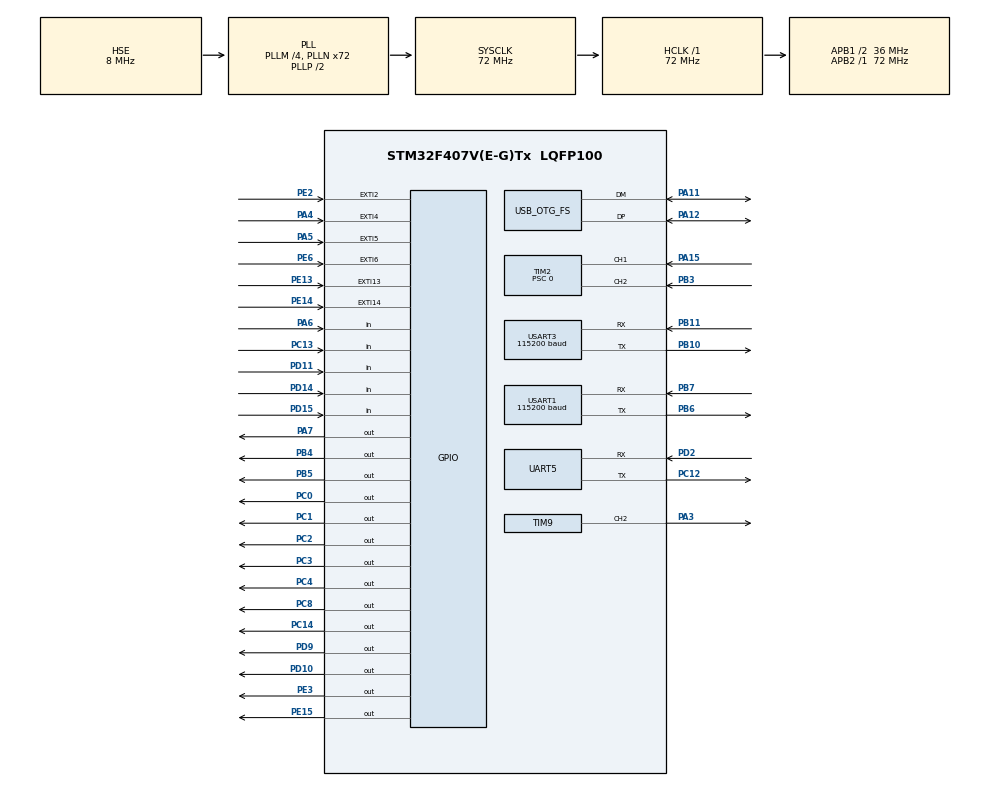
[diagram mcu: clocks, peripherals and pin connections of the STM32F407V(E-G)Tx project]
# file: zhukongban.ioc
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Dma.Request0=USART3_RX
Dma.Request1=USART3_TX
Dma.Request2=USART1_RX
Dma.Request3=USART1_TX
Dma.Request4=UART5_RX
Dma.Request5=UART5_TX
Dma.UART5_RX.4.Direction=DMA_PERIPH_TO_MEMORY
Dma.UART5_RX.4.FIFOMode=DMA_FIFOMODE_DISABLE
Dma.UART5_RX.4.Instance=DMA1_Stream0
Dma.UART5_RX.4.MemDataAlignment=DMA_MDATAALIGN_BYTE
Dma.UART5_RX.4.MemInc=DMA_MINC_ENABLE
Dma.UART5_RX.4.Mode=DMA_NORMAL
Dma.UART5_RX.4.PeriphDataAlignment=DMA_PDATAALIGN_BYTE
Dma.UART5_RX.4.PeriphInc=DMA_PINC_DISABLE
Dma.UART5_RX.4.Priority=DMA_PRIORITY_LOW
Dma.UART5_TX.5.Direction=DMA_MEMORY_TO_PERIPH
Dma.UART5_TX.5.FIFOMode=DMA_FIFOMODE_DISABLE
Dma.UART5_TX.5.Instance=DMA1_Stream7
Dma.UART5_TX.5.MemDataAlignment=DMA_MDATAALIGN_BYTE
Dma.UART5_TX.5.MemInc=DMA_MINC_ENABLE
Dma.UART5_TX.5.Mode=DMA_NORMAL
Dma.UART5_TX.5.PeriphDataAlignment=DMA_PDATAALIGN_BYTE
Dma.UART5_TX.5.PeriphInc=DMA_PINC_DISABLE
Dma.UART5_TX.5.Priority=DMA_PRIORITY_LOW
Dma.USART1_RX.2.Direction=DMA_PERIPH_TO_MEMORY
Dma.USART1_RX.2.FIFOMode=DMA_FIFOMODE_DISABLE
Dma.USART1_RX.2.Instance=DMA2_Stream2
Dma.USART1_RX.2.MemDataAlignment=DMA_MDATAALIGN_BYTE
Dma.USART1_RX.2.MemInc=DMA_MINC_ENABLE
Dma.USART1_RX.2.Mode=DMA_NORMAL
Dma.USART1_RX.2.PeriphDataAlignment=DMA_PDATAALIGN_BYTE
Dma.USART1_RX.2.PeriphInc=DMA_PINC_DISABLE
Dma.USART1_RX.2.Priority=DMA_PRIORITY_LOW
Dma.USART1_TX.3.Direction=DMA_MEMORY_TO_PERIPH
Dma.USART1_TX.3.FIFOMode=DMA_FIFOMODE_DISABLE
Dma.USART1_TX.3.Instance=DMA2_Stream7
Dma.USART1_TX.3.MemDataAlignment=DMA_MDATAALIGN_BYTE
Dma.USART1_TX.3.MemInc=DMA_MINC_ENABLE
Dma.USART1_TX.3.Mode=DMA_NORMAL
Dma.USART1_TX.3.PeriphDataAlignment=DMA_PDATAALIGN_BYTE
Dma.USART1_TX.3.PeriphInc=DMA_PINC_DISABLE
Dma.USART1_TX.3.Priority=DMA_PRIORITY_LOW
Dma.USART3_RX.0.Direction=DMA_PERIPH_TO_MEMORY
Dma.USART3_RX.0.FIFOMode=DMA_FIFOMODE_DISABLE
Dma.USART3_RX.0.Instance=DMA1_Stream1
Dma.USART3_RX.0.MemDataAlignment=DMA_MDATAALIGN_BYTE
Dma.USART3_RX.0.MemInc=DMA_MINC_ENABLE
Dma.USART3_RX.0.Mode=DMA_NORMAL
Dma.USART3_RX.0.PeriphDataAlignment=DMA_PDATAALIGN_BYTE
Dma.USART3_RX.0.PeriphInc=DMA_PINC_DISABLE
Dma.USART3_RX.0.Priority=DMA_PRIORITY_LOW
Dma.USART3_TX.1.Direction=DMA_MEMORY_TO_PERIPH
Dma.USART3_TX.1.FIFOMode=DMA_FIFOMODE_DISABLE
Dma.USART3_TX.1.Instance=DMA1_Stream3
Dma.USART3_TX.1.MemDataAlignment=DMA_MDATAALIGN_BYTE
Dma.USART3_TX.1.MemInc=DMA_MINC_ENABLE
Dma.USART3_TX.1.Mode=DMA_NORMAL
Dma.USART3_TX.1.PeriphDataAlignment=DMA_PDATAALIGN_BYTE
Dma.USART3_TX.1.PeriphInc=DMA_PINC_DISABLE
Dma.USART3_TX.1.Priority=DMA_PRIORITY_LOW
Mcu.Family=STM32F4
Mcu.Name=STM32F407V(E-G)Tx
Mcu.Package=LQFP100
NVIC.DMA1_Stream0_IRQn=true\:10\:0\:true\:false\:true\:false\:true\:true
NVIC.DMA1_Stream1_IRQn=true\:10\:0\:true\:false\:true\:false\:true\:true
NVIC.DMA1_Stream3_IRQn=true\:10\:0\:true\:false\:true\:false\:true\:true
NVIC.DMA1_Stream7_IRQn=true\:10\:0\:true\:false\:true\:false\:true\:true
NVIC.DMA2_Stream2_IRQn=true\:10\:0\:true\:false\:true\:false\:true\:true
NVIC.DMA2_Stream7_IRQn=true\:10\:0\:true\:false\:true\:false\:true\:true
NVIC.EXTI15_10_IRQn=true\:3\:0\:true\:false\:true\:true\:true\:true
NVIC.EXTI2_IRQn=true\:2\:0\:true\:false\:true\:true\:true\:true
NVIC.EXTI4_IRQn=true\:2\:0\:true\:false\:true\:true\:true\:true
NVIC.EXTI9_5_IRQn=true\:3\:0\:true\:false\:true\:true\:true\:true
NVIC.FLASH_IRQn=true\:0\:0\:false\:false\:true\:true\:true\:true
NVIC.PriorityGroup=NVIC_PRIORITYGROUP_4
NVIC.RCC_IRQn=true\:0\:0\:false\:false\:true\:true\:false\:true
NVIC.TIM1_BRK_TIM9_IRQn=true\:0\:0\:false\:false\:true\:true\:true\:true
NVIC.TIM2_IRQn=true\:8\:0\:true\:false\:true\:true\:true\:true
NVIC.TIM3_IRQn=true\:8\:0\:true\:false\:true\:true\:true\:true
NVIC.TIM4_IRQn=true\:8\:0\:true\:false\:true\:true\:true\:true
NVIC.UART5_IRQn=true\:12\:0\:true\:false\:true\:true\:true\:true
NVIC.USART1_IRQn=true\:12\:0\:true\:false\:true\:true\:true\:true
NVIC.USART3_IRQn=true\:12\:0\:true\:false\:true\:true\:true\:true
PA11.Mode=Host_Only
PA11.Signal=USB_OTG_FS_DM
PA12.Mode=Host_Only
PA12.Signal=USB_OTG_FS_DP
PA13.Mode=Serial_Wire
PA13.Signal=SYS_JTMS-SWDIO
PA14.Mode=Serial_Wire
PA14.Signal=SYS_JTCK-SWCLK
PA15.GPIO_PuPd=GPIO_PULLDOWN
PA15.GPIO_Speed=GPIO_SPEED_FREQ_HIGH
PA15.Signal=S_TIM2_CH1_ETR
PA3.Signal=S_TIM9_CH2
PA4.GPIO_ModeDefaultEXTI=GPIO_MODE_IT_RISING_FALLING
PA4.Signal=GPXTI4
PA5.GPIO_ModeDefaultEXTI=GPIO_MODE_IT_RISING_FALLING
PA5.Signal=GPXTI5
PA6.Signal=GPIO_Input
PA7.PinState=GPIO_PIN_SET
PA7.Signal=GPIO_Output
PB10.Mode=Asynchronous
PB10.Signal=USART3_TX
PB11.Mode=Asynchronous
PB11.Signal=USART3_RX
PB3.GPIO_PuPd=GPIO_PULLDOWN
PB3.GPIO_Speed=GPIO_SPEED_FREQ_HIGH
PB3.Signal=S_TIM2_CH2
PB4.PinState=GPIO_PIN_SET
PB4.Signal=GPIO_Output
PB5.Signal=GPIO_Output
PB6.Mode=Asynchronous
PB6.Signal=USART1_TX
PB7.Mode=Asynchronous
PB7.Signal=USART1_RX
PC0.Signal=GPIO_Output
PC1.Signal=GPIO_Output
PC10.Signal=UART4_TX
PC11.Signal=UART4_RX
PC12.Mode=Asynchronous
PC12.Signal=UART5_TX
PC13-ANTI_TAMP.Signal=GPIO_Input
PC14-OSC32_IN.Signal=GPIO_Output
PC2.Signal=GPIO_Output
PC3.Signal=GPIO_Output
PC4.PinState=GPIO_PIN_SET
PC4.Signal=GPIO_Output
PC8.Signal=GPIO_Output
PD10.PinState=GPIO_PIN_RESET
PD10.Signal=GPIO_Output
PD11.Signal=GPIO_Input
PD14.Signal=GPIO_Input
PD15.Signal=GPIO_Input
PD2.Mode=Asynchronous
PD2.Signal=UART5_RX
PD5.Signal=USART2_TX
PD6.Signal=USART2_RX
PD9.Signal=GPIO_Output
PE13.Signal=GPXTI13
PE14.GPIO_ModeDefaultEXTI=GPIO_MODE_IT_FALLING
PE14.Signal=GPXTI14
PE15.Signal=GPIO_Output
PE2.GPIO_ModeDefaultEXTI=GPIO_MODE_IT_RISING
PE2.Signal=GPXTI2
PE3.Signal=GPIO_Output
PE6.GPIO_ModeDefaultEXTI=GPIO_MODE_IT_FALLING
PE6.Signal=GPXTI6
PH0-OSC_IN.Mode=HSE-External-Oscillator
PH0-OSC_IN.Signal=RCC_OSC_IN
PH1-OSC_OUT.Mode=HSE-External-Oscillator
PH1-OSC_OUT.Signal=RCC_OSC_OUT
ProjectManager.HeapSize=0x200
ProjectManager.StackSize=0x400
ProjectManager.TargetToolchain=MDK-ARM V5.32
RCC.48MHZClocksFreq_Value=48000000
RCC.AHBFreq_Value=72000000
RCC.APB1CLKDivider=RCC_HCLK_DIV2
RCC.APB1Freq_Value=36000000
RCC.APB1TimFreq_Value=72000000
RCC.APB2Freq_Value=72000000
RCC.APB2TimFreq_Value=72000000
RCC.CortexFreq_Value=72000000
RCC.HCLKFreq_Value=72000000
RCC.HSE_VALUE=8000000
RCC.HSI_VALUE=16000000
RCC.LSE_VALUE=32768
RCC.PLLM=4
RCC.PLLN=72
RCC.PLLQ=3
RCC.SYSCLKFreq_VALUE=72000000
RCC.SYSCLKSource=RCC_SYSCLKSOURCE_PLLCLK
RCC.VCOOutputFreq_Value=144000000
SH.S_TIM2_CH1_ETR.0=TIM2_CH1,Encoder_Interface
SH.S_TIM2_CH2.0=TIM2_CH2,Encoder_Interface
SH.S_TIM9_CH2.0=TIM9_CH2,PWM Generation2 CH2
TIM2.AutoReloadPreload=TIM_AUTORELOAD_PRELOAD_ENABLE
TIM2.EncoderMode=TIM_ENCODERMODE_TI12
TIM2.Period=0xffffffff
TIM2.Prescaler=0
TIM2.TIM_MasterOutputTrigger=TIM_TRGO_RESET
TIM3.AutoReloadPreload=TIM_AUTORELOAD_PRELOAD_ENABLE
TIM3.Period=999
TIM3.Prescaler=7199
TIM4.AutoReloadPreload=TIM_AUTORELOAD_PRELOAD_ENABLE
TIM4.Period=999
TIM4.Prescaler=7199
TIM9.Channel-PWM\ Generation2\ CH2=TIM_CHANNEL_2
TIM9.Period=999
TIM9.Prescaler=26
TIM9.Pulse-PWM\ Generation2\ CH2=500
UART5.VirtualMode=Asynchronous
USART1.BaudRate=115200
USART1.Parity=PARITY_EVEN
USART1.VirtualMode=VM_ASYNC
USART1.WordLength=WORDLENGTH_9B
USART3.BaudRate=115200
USART3.Parity=PARITY_EVEN
USART3.VirtualMode=VM_ASYNC
USART3.WordLength=WORDLENGTH_9B
USB_OTG_FS.VirtualMode=Host_Only
USB_OTG_FS.phy_itface=HCD_PHY_EMBEDDED
VP_RTC_VS_RTC_Activate.Mode=RTC_Enabled
VP_TIM3_VS_ClockSourceINT.Mode=Internal
VP_TIM4_VS_ClockSourceINT.Mode=Internal
VP_TIM9_VS_ClockSourceINT.Mode=Internal
board=custom

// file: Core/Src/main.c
/* USER CODE BEGIN Header */
/**
  ******************************************************************************
  * @file           : main.c
  * @brief          : Main program body
  ******************************************************************************
  * @attention
  *
  * Copyright (c) 2025 STMicroelectronics.
  * All rights reserved.
  *
  * This software is licensed under terms that can be found in the LICENSE file
  * in the root directory of this software component.
  * If no LICENSE file comes with this software, it is provided AS-IS.
  *
  ******************************************************************************
  */
/* USER CODE END Header */
#include "main.h"
#include "dma.h"
#include "rtc.h"
#include "tim.h"
#include "usart.h"
#include "usb_otg.h"
#include "gpio.h"

/* USER CODE BEGIN Includes */
#include "hardware.h"
#include "stm32f4xx.h"

#include "cmdhandle.h"
#include "stdint.h"
#include <stdlib.h>
#include "unpack.h"
#include "crc.h"
#include "shared_var.h"

uint8_t rx1_buffer[RX_BUFFER_SIZE];   //接电机，串口1 485
uint8_t rx4_buffer[RX_BUFFER_SIZE];   //接高压板，串口4  232
uint8_t rx3_buffer[RX_BUFFER_SIZE];   //接上位机，串口3 422
uint8_t tim2_buffer[5];
uint8_t TXBUF0[14]= {0x55, 0xAA, 0x0E, 0x00, 0x00, 0x00,
                        0x02, 0x01, 0x05, 0x00, 0x01, 0x00, 0x00, 0x00};
uint8_t TXBUF1[19]= {0x55, 0xAA, 0x13, 0x00, 0x00, 0x00,
                        0x02, 0x01, 0x05, 0x00, 0x01, 0x00,  0x00, 0x00, 0x00, 0x00 , 0x00,0x00, 0x00};

uint16_t rx1_length;
uint16_t rx4_length;
uint16_t rx3_length;
uint16_t tim2_length;

uint8_t  rx1_flag = 0;
uint8_t  rx4_flag = 0;
uint8_t  rx3_flag = 0;

uint16_t k =0;
uint8_t expose_flag = 0;    //曝光标志位
uint8_t pre_flag = 0;       //预备标志位
uint8_t Gybpre_flag =0;     //高压板是否准备
uint8_t mode_flag = 0;      //模式
uint8_t motor_revflag=0;    //电机反转到位
uint8_t detector_flag=0;    //探测器的连接、参数设置之后点“开始采集按钮”
uint8_t Gybpre_key=1; 			//高压板返回信号的按键
uint8_t emc_flag=0;

uint16_t n_total;       //拍照总张数，从上位机读取
uint16_t t_time;        //周期,帧率倒数
uint16_t  pose_time;     //曝光时间
uint8_t  state = 0;     //用于判断进度，初始是0，pre后为1，expose结束后返回0
uint8_t stop_flag = 0;  //没用到
uint8_t sync_in=0;  //探测器的SYNCIN
uint8_t sync_out=0;  //探测器的SYNCout
uint8_t tim3flagw=0;  //
volatile  uint8_t fmqflagw=0;  //

uint8_t ring_data[RB_bufsz];
uint8_t cmd_buf[RB_bufsz];

uint16_t SynState = 0;   //同步

/* USER CODE END Includes */

void SystemClock_Config(void);

int main(void)
{

  /* USER CODE BEGIN 1 */

  __enable_irq();

  /* USER CODE END 1 */

  /* MCU Configuration--------------------------------------------------------*/

  /* Reset of all peripherals, Initializes the Flash interface and the Systick. */
  HAL_Init();

  /* Configure the system clock */
  SystemClock_Config();

  /* Initialize all configured peripherals */
  MX_GPIO_Init();
  MX_DMA_Init();
  MX_USART1_UART_Init();
  MX_USART3_UART_Init();
  MX_USB_OTG_FS_HCD_Init();
  MX_RTC_Init();
  MX_TIM2_Init();
  MX_TIM3_Init();
  MX_TIM4_Init();
  MX_TIM9_Init();
  MX_UART5_Init();
  /* USER CODE BEGIN 2 */

// 使能空闲中断
  __HAL_UART_ENABLE_IT(&huart1, UART_IT_IDLE);
  __HAL_UART_ENABLE_IT(&huart5, UART_IT_IDLE);
	__HAL_UART_ENABLE_IT(&huart3, UART_IT_IDLE);

// 启动DMA接收
  HAL_UART_Receive_DMA(&huart1, rx1_buffer, sizeof(rx1_buffer));
	HAL_UART_Receive_DMA(&huart5, rx4_buffer, sizeof(rx4_buffer));
	HAL_UART_Receive_DMA(&huart3, rx3_buffer, sizeof(rx3_buffer));

	HAL_TIM_Encoder_Start(&htim2, TIM_CHANNEL_ALL);
	__HAL_TIM_SET_COUNTER(&htim2,0);  //清零定时器2的计数值

	ringbuffer rbuf;
	decodeData g_decoder;
	ring_buf_init(&rbuf, ring_data);
	unpack_init(&g_decoder, &rbuf, cmd_buf);

  /* USER CODE END 2 */

  /* Infinite loop */
  /* USER CODE BEGIN WHILE */

	t_time  = 1/20*1000 ;    //20帧用的毫秒数
	pose_time = t_time /2 ;  //曝光时间占一半

//test
/*
while (1)
  {
		//CMD_handlder_tx(TXBUF,0X01);

			if(rx3_flag ==1)  // 上位机下发数据
		{
			crc16_make(rx3_buffer,14);
			// 注入数据
			for (int i = 0; i < 14; i++)
			{
				ring_buf_write(&rbuf, rx3_buffer[i]);
			}

			// 处理数据
			while (ring_buf_avail(&rbuf) > 0)
			{
			unpack_fun(&g_decoder);
			}
		}
			if(motor_revflag == 1)
			{
				HAL_UART_Transmit(&huart3, g_decoder.buf, 14 ,0xFFFF );
	    }
			HAL_Delay(500);

	}
	*/

  while (1)
  {

		if(rx3_flag ==1)  // 上位机下发数据
		{
			rx3_flag = 0;

			if(rx3_buffer[0] ==0x55 && rx3_buffer[7] == 0x02)  //给主控板
		   	{
						// 注入数据
					for (int i = 0; i < sizeof(rx3_buffer); i++)
					{
						ring_buf_write(&rbuf, rx3_buffer[i]);
					}

					// 处理数据
					while (ring_buf_avail(&rbuf) > 0)
					{
					unpack_fun(&g_decoder);
					}

					//HAL_UART_Transmit(&huart3, g_decoder.buf, rx3_length ,0xFFFF );

			   }
		  else if(rx3_buffer[0] ==0x55 && rx3_buffer[7] == 0x03)    //给高压板
					{
						HAL_UART_Transmit_DMA(&huart5, rx3_buffer, rx3_length);
					}
		  else if(rx3_buffer[0] == 0x01)  	//给电机
					{
						HAL_UART_Transmit_DMA(&huart1, rx3_buffer, rx3_length);
					}
			else
					{
	          CMD_handlder_tx(TXBUF0,0x05,0x01,0x00,0x00); //报错
					}
		}

  	CMD_handlder_tx(TXBUF1,0x05,0x02,0x00,0x00);   // 查询电机位置，读定时器的计数值

		if(HAL_GPIO_ReadPin(GPIOA, GPIO_PIN_6) == GPIO_PIN_RESET )  //高压板的返回有效信号，PA6
		{
			Gybpre_flag=1;
		}
		else if(HAL_GPIO_ReadPin(GPIOA, GPIO_PIN_6) == GPIO_PIN_SET)
		{
			Gybpre_flag=0;
		}

		if( motor_revflag == 1 && detector_flag == 1)  //判断电机是否反转好&&探测器准备好  不持续
		{
			state = 1; //准备好了，等待按手闸二
		  motor_revflag=0;
		  detector_flag=0;
		}

	  if (sync_in==1)
			{
				if (state ==1 && Gybpre_flag ==1 &&expose_flag ==1)  //state代表一切就绪，expose代表发出pwm(手闸二)
					{
						state = 0;
						expose_flag =0;  //用中断函数的另一个边沿触发也可以
						HAL_TIM_Base_Start_IT(&htim4);  //启动计时器4计数，产生脉冲
						HAL_GPIO_WritePin(GPIOE, GPIO_PIN_3, GPIO_PIN_RESET); //BELL,黄色的灯
						HAL_TIM_PWM_Start(&htim9, TIM_CHANNEL_2); //板子上的蜂鸣器
					}
			}

			if (sync_out==1)
			{
				if (SynState==n_total)
				{
					SynState=0;
					//HAL_GPIO_WritePin(GPIOE, GPIO_PIN_3, GPIO_PIN_RESET); //蜂鸣器
					HAL_TIM_PWM_Stop(&htim9, TIM_CHANNEL_2); //板子上的蜂鸣器
					fmqflagw=0;
					HAL_GPIO_WritePin(GPIOA,GPIO_PIN_7,GPIO_PIN_SET); //通知高压板结束准备
          CMD_handlder_tx(TXBUF0,0x05,0x03,0x00,0x00);
				}
			}

		HAL_Delay(500);
  }
    /* USER CODE END WHILE */

}

void SystemClock_Config(void)
{
  RCC_OscInitTypeDef RCC_OscInitStruct = {0};
  RCC_ClkInitTypeDef RCC_ClkInitStruct = {0};

  /** Configure the main internal regulator output voltage
  */
  __HAL_RCC_PWR_CLK_ENABLE();
  __HAL_PWR_VOLTAGESCALING_CONFIG(PWR_REGULATOR_VOLTAGE_SCALE1);

  /** Initializes the RCC Oscillators according to the specified parameters
  * in the RCC_OscInitTypeDef structure.
  */
  RCC_OscInitStruct.OscillatorType = RCC_OSCILLATORTYPE_LSI|RCC_OSCILLATORTYPE_HSE;
  RCC_OscInitStruct.HSEState = RCC_HSE_ON;
  RCC_OscInitStruct.LSIState = RCC_LSI_ON;
  RCC_OscInitStruct.PLL.PLLState = RCC_PLL_ON;
  RCC_OscInitStruct.PLL.PLLSource = RCC_PLLSOURCE_HSE;
  RCC_OscInitStruct.PLL.PLLM = 4;
  RCC_OscInitStruct.PLL.PLLN = 72;
  RCC_OscInitStruct.PLL.PLLP = RCC_PLLP_DIV2;
  RCC_OscInitStruct.PLL.PLLQ = 3;
  if (HAL_RCC_OscConfig(&RCC_OscInitStruct) != HAL_OK)
  {
    Error_Handler();
  }

  /** Initializes the CPU, AHB and APB buses clocks
  */
  RCC_ClkInitStruct.ClockType = RCC_CLOCKTYPE_HCLK|RCC_CLOCKTYPE_SYSCLK
                              |RCC_CLOCKTYPE_PCLK1|RCC_CLOCKTYPE_PCLK2;
  RCC_ClkInitStruct.SYSCLKSource = RCC_SYSCLKSOURCE_PLLCLK;
  RCC_ClkInitStruct.AHBCLKDivider = RCC_SYSCLK_DIV1;
  RCC_ClkInitStruct.APB1CLKDivider = RCC_HCLK_DIV2;
  RCC_ClkInitStruct.APB2CLKDivider = RCC_HCLK_DIV1;

  if (HAL_RCC_ClockConfig(&RCC_ClkInitStruct, FLASH_LATENCY_2) != HAL_OK)
  {
    Error_Handler();
  }
}

/* USER CODE BEGIN 4 */

void HAL_GPIO_EXTI_Callback(uint16_t GPIO_Pin)
{
	if(GPIO_Pin == GPIO_PIN_2)   //EMC-急停告知;PE2；上升沿
   {
		 HAL_Delay(10);
		 if (HAL_GPIO_ReadPin(GPIOE, GPIO_PIN_2) == GPIO_PIN_RESET)         return;
     emc_flag=1;
	 }

	 if(GPIO_Pin == GPIO_PIN_4)   //  PA4高压板的KV85
   {
        if (HAL_GPIO_ReadPin(GPIOA, GPIO_PIN_4) == GPIO_PIN_SET)         // 上升沿
        {
				  HAL_Delay(10);
					if (HAL_GPIO_ReadPin(GPIOA, GPIO_PIN_4) == GPIO_PIN_RESET)         return;

            HAL_GPIO_WritePin(GPIOA,GPIO_PIN_7,GPIO_PIN_SET);
						HAL_TIM_Base_Stop_IT(&htim4);  	//  停止发PWM

						DataFrame_Motor1 frame1 =
						{
								.Header = 0x01,
								.Cmd = 0x05,
								.addr = 0x0123,
								.data = 0xFF00
							};

						DataFrame_Motor1 *p1 = &frame1;
						uint8_t data[8];
						Send_motor1(p1, data);//计算校验位CRC
						HAL_UART_Transmit_DMA(&huart1, data, sizeof(data));  //电机急停止
        }
        else
        {
          if (HAL_GPIO_ReadPin(GPIOA, GPIO_PIN_4) == GPIO_PIN_SET)         return;
					if (HAL_GPIO_ReadPin(GPIOA, GPIO_PIN_4) == GPIO_PIN_SET)         return;
					if (HAL_GPIO_ReadPin(GPIOA, GPIO_PIN_4) == GPIO_PIN_SET)         return;
					if (HAL_GPIO_ReadPin(GPIOA, GPIO_PIN_4) == GPIO_PIN_SET)         return;
        //  CMD_handlder_tx(TXBUF0,0X04);	//报错修好
        }
	 }

	 if(GPIO_Pin == GPIO_PIN_5)   //高压板报错，Fault。PA5。
   {
		 if (HAL_GPIO_ReadPin(GPIOA, GPIO_PIN_5) == GPIO_PIN_SET)         // 上升沿
        {
					if (HAL_GPIO_ReadPin(GPIOA, GPIO_PIN_5) == GPIO_PIN_RESET)         return;
					if (HAL_GPIO_ReadPin(GPIOA, GPIO_PIN_5) == GPIO_PIN_RESET)         return;
					if (HAL_GPIO_ReadPin(GPIOA, GPIO_PIN_5) == GPIO_PIN_RESET)         return;
					if (HAL_GPIO_ReadPin(GPIOA, GPIO_PIN_5) == GPIO_PIN_RESET)         return;

					HAL_GPIO_WritePin(GPIOA,GPIO_PIN_7,GPIO_PIN_SET);
					HAL_TIM_Base_Stop_IT(&htim4);  	//  停止发PWM

					DataFrame_Motor1 frame1 =
					{
							.Header = 0x01,
							.Cmd = 0x05,
							.addr = 0x0123,
							.data = 0xFF00
						};

					DataFrame_Motor1 *p1 = &frame1;
					uint8_t data[8];
					Send_motor1(p1, data);//计算校验位CRC
					HAL_UART_Transmit_DMA(&huart1, data, sizeof(data));  //电机急停止
//				//	CMD_handlder_tx(TXBUF0,0X06);
		  	}

			  else
        {
          if (HAL_GPIO_ReadPin(GPIOA, GPIO_PIN_5) == GPIO_PIN_SET)         return;
					if (HAL_GPIO_ReadPin(GPIOA, GPIO_PIN_5) == GPIO_PIN_SET)         return;
					if (HAL_GPIO_ReadPin(GPIOA, GPIO_PIN_5) == GPIO_PIN_SET)         return;
					if (HAL_GPIO_ReadPin(GPIOA, GPIO_PIN_5) == GPIO_PIN_SET)         return;
         // CMD_handlder_tx(TXBUF0,0X07);	//报错修好
        }
	 }

	 if(GPIO_Pin == GPIO_PIN_6)  //PE6,手闸二；下降沿
   {
		 if(state == 1 && Gybpre_flag ==1)
		{
			if (HAL_GPIO_ReadPin(GPIOE, GPIO_PIN_6) == GPIO_PIN_SET)         return;
			if (HAL_GPIO_ReadPin(GPIOE, GPIO_PIN_6) == GPIO_PIN_SET)         return;
			if (HAL_GPIO_ReadPin(GPIOE, GPIO_PIN_6) == GPIO_PIN_SET)         return;
			if (HAL_GPIO_ReadPin(GPIOE, GPIO_PIN_6) == GPIO_PIN_SET)         return;
	  	expose_flag =1;
		 }
	 }

	 if(GPIO_Pin == GPIO_PIN_13)  //SYNCOUT探测器的采集请求信号;PE13
   {
		 if(sync_out==1 && state == 1 && Gybpre_flag ==1)
		 {
			 expose_flag =1;
			}
	 }

	 	if(GPIO_Pin == GPIO_PIN_14)  //探测器返回信号FPD;PE14
   {
		if(tim3flagw==0)
		{
			if(sync_in==1 && Gybpre_flag ==1 )
			{
		   	__HAL_TIM_SET_COUNTER(&htim3,0);  //清零定时器3的计数值
			 HAL_TIM_Base_Start_IT(&htim3);
			 HAL_GPIO_WritePin(GPIOC, GPIO_PIN_4, GPIO_PIN_SET);   //拉高曝光引脚COM ,PC4
			 tim3flagw=1;
		  }

			if(sync_out==1 && state ==1 && Gybpre_flag ==1 &&expose_flag ==1)
			{
				if(fmqflagw==0)
				{
					HAL_TIM_PWM_Start(&htim9, TIM_CHANNEL_2); //板子上的蜂鸣器
					fmqflagw=1;
				}
				if(SynState < n_total)
						{
							SynState ++;
						  expose_flag =0;
							__HAL_TIM_SET_COUNTER(&htim3,0);  //清零定时器3的计数值
						 HAL_TIM_Base_Start_IT(&htim3);
						 HAL_GPIO_WritePin(GPIOC, GPIO_PIN_4, GPIO_PIN_SET);   //拉高曝光引脚COM ,PC4
						tim3flagw=1;
						}
			}

		}
	 }

 }

 void HAL_TIM_PeriodElapsedCallback(TIM_HandleTypeDef *htim)  //定时器中断回调函数
{
		if (htim->Instance == TIM3)
    {
				HAL_GPIO_WritePin(GPIOC, GPIO_PIN_4, GPIO_PIN_RESET);   //拉低曝光引脚COM ,PC4
        HAL_TIM_Base_Stop_IT(&htim3);  	//  停止定时器（避免计数干扰）
				tim3flagw=0;
    }

		if (htim->Instance == TIM4)
    {
			if(SynState < 2 * n_total)
			{
				HAL_GPIO_TogglePin(GPIOE, GPIO_PIN_15);    //SYNC_InP,启动同步
				SynState ++;
			}
			else
			{
				SynState=0;
		    HAL_TIM_Base_Stop_IT(&htim4);  	//  停止定时器（避免计数干扰）
				HAL_GPIO_WritePin(GPIOE, GPIO_PIN_3, GPIO_PIN_SET); //bell黄灯
				HAL_TIM_PWM_Stop(&htim9, TIM_CHANNEL_2); //板子上的蜂鸣器
				HAL_GPIO_WritePin(GPIOA,GPIO_PIN_7,GPIO_PIN_SET); //IO口通知高压板结束准备
        CMD_handlder_tx(TXBUF0,0x05,0x03,0x00,0x00);
			}
    }
}
/* USER CODE END 4 */

void Error_Handler(void)
{
  __disable_irq();
  while (1)
  {
  }
}
